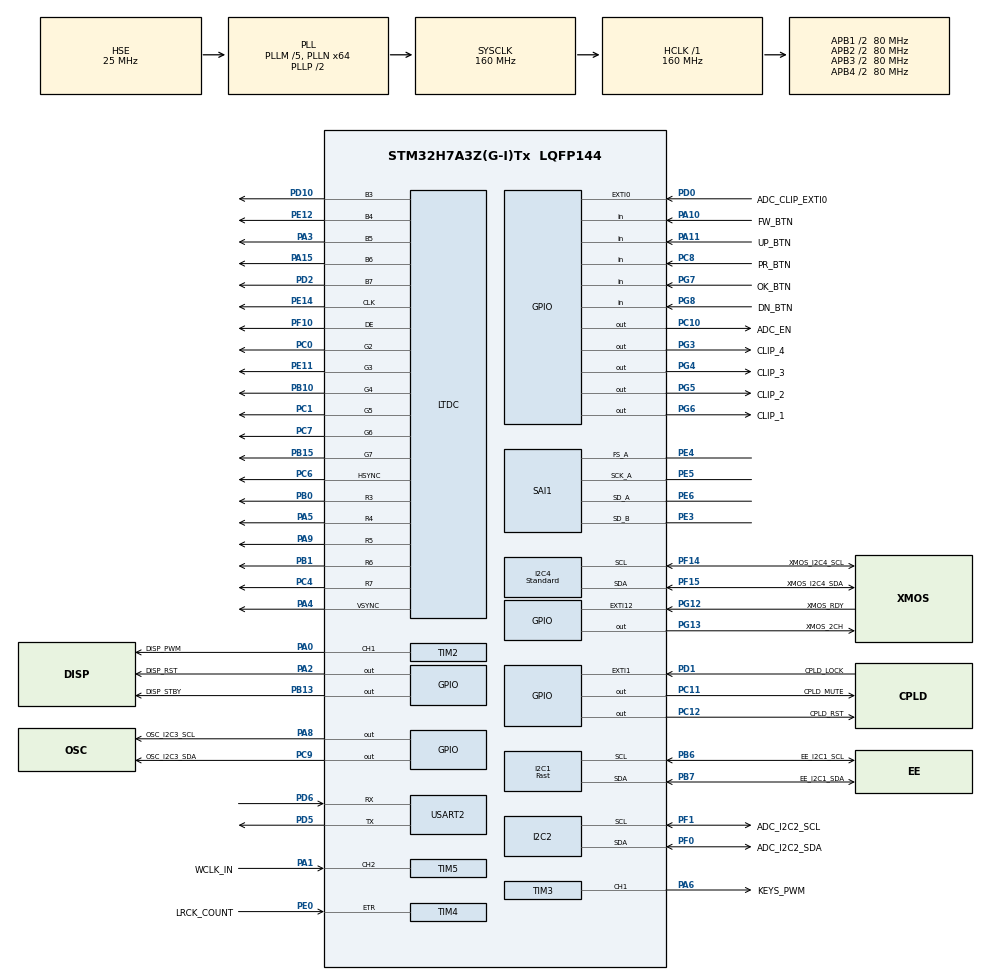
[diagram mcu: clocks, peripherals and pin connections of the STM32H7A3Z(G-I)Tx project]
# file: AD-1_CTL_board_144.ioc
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CORTEX_M7.AccessPermission_S-Cortex_Memory_Protection_Unit_Region1_Settings_S=MPU_REGION_FULL_ACCESS
CORTEX_M7.AccessPermission_Spec=MPU_REGION_FULL_ACCESS
CORTEX_M7.BaseAddress_S-Cortex_Memory_Protection_Unit_Region1_Settings_S=0x30000000
CORTEX_M7.BaseAddress_Spec=0x24000000
CORTEX_M7.CPU_DCache=Enabled
CORTEX_M7.CPU_ICache=Enabled
CORTEX_M7.Enable_S-Cortex_Memory_Protection_Unit_Region1_Settings_S=MPU_REGION_ENABLE
CORTEX_M7.IsCacheable_Spec=MPU_ACCESS_CACHEABLE
CORTEX_M7.IsShareable_Spec=MPU_ACCESS_NOT_SHAREABLE
CORTEX_M7.Size_S-Cortex_Memory_Protection_Unit_Region1_Settings_S=MPU_REGION_SIZE_32KB
CORTEX_M7.Size_Spec=MPU_REGION_SIZE_1MB
CORTEX_M7.SubRegionDisable_Spec=0x00
CORTEX_M7.TypeExtField_S-Cortex_Memory_Protection_Unit_Region1_Settings_S=MPU_TEX_LEVEL1
CORTEX_M7.default_mode_Activation=1
DMA2D.ColorMode=DMA2D_OUTPUT_RGB565
Dma.Request0=SAI1_A
Dma.Request1=SAI1_B
Dma.SAI1_A.0.Direction=DMA_PERIPH_TO_MEMORY
Dma.SAI1_A.0.EventEnable=DISABLE
Dma.SAI1_A.0.FIFOMode=DMA_FIFOMODE_DISABLE
Dma.SAI1_A.0.Instance=DMA1_Stream0
Dma.SAI1_A.0.MemDataAlignment=DMA_MDATAALIGN_WORD
Dma.SAI1_A.0.MemInc=DMA_MINC_ENABLE
Dma.SAI1_A.0.Mode=DMA_CIRCULAR
Dma.SAI1_A.0.PeriphDataAlignment=DMA_PDATAALIGN_WORD
Dma.SAI1_A.0.PeriphInc=DMA_PINC_DISABLE
Dma.SAI1_A.0.Polarity=HAL_DMAMUX_REQ_GEN_RISING
Dma.SAI1_A.0.Priority=DMA_PRIORITY_HIGH
Dma.SAI1_A.0.RequestNumber=1
Dma.SAI1_A.0.SignalID=NONE
Dma.SAI1_A.0.SyncEnable=DISABLE
Dma.SAI1_A.0.SyncPolarity=HAL_DMAMUX_SYNC_NO_EVENT
Dma.SAI1_A.0.SyncRequestNumber=1
Dma.SAI1_A.0.SyncSignalID=NONE
Dma.SAI1_B.1.Direction=DMA_PERIPH_TO_MEMORY
Dma.SAI1_B.1.EventEnable=DISABLE
Dma.SAI1_B.1.FIFOMode=DMA_FIFOMODE_DISABLE
Dma.SAI1_B.1.Instance=DMA1_Stream1
Dma.SAI1_B.1.MemDataAlignment=DMA_MDATAALIGN_WORD
Dma.SAI1_B.1.MemInc=DMA_MINC_ENABLE
Dma.SAI1_B.1.Mode=DMA_CIRCULAR
Dma.SAI1_B.1.PeriphDataAlignment=DMA_PDATAALIGN_WORD
Dma.SAI1_B.1.PeriphInc=DMA_PINC_DISABLE
Dma.SAI1_B.1.Polarity=HAL_DMAMUX_REQ_GEN_RISING
Dma.SAI1_B.1.Priority=DMA_PRIORITY_HIGH
Dma.SAI1_B.1.RequestNumber=1
Dma.SAI1_B.1.SignalID=NONE
Dma.SAI1_B.1.SyncEnable=DISABLE
Dma.SAI1_B.1.SyncPolarity=HAL_DMAMUX_SYNC_NO_EVENT
Dma.SAI1_B.1.SyncRequestNumber=1
Dma.SAI1_B.1.SyncSignalID=NONE
I2C1.I2C_Speed_Mode=I2C_Fast
I2C1.Timing=0x00702991
I2C2.Timing=0x10909CEC
I2C4.I2C_Speed_Mode=I2C_Standard
I2C4.OwnAddress=0x42
I2C4.Timing=0x10909CEC
LTDC.ActiveH=272
LTDC.ActiveW=480
LTDC.Alpha_L0=255
LTDC.DEPolarity=LTDC_DEPOLARITY_AH
LTDC.HBP=43
LTDC.HFP=8
LTDC.HSync=2
LTDC.ImageHeight_L0=128
LTDC.ImageWidth_L0=480
LTDC.Layers=0
LTDC.PCPolarity=LTDC_PCPOLARITY_IPC
LTDC.PixelFormat_L0=LTDC_PIXEL_FORMAT_RGB565
LTDC.VBP=12
LTDC.VFP=8
LTDC.VSync=4
LTDC.WindowX1_L0=480
LTDC.WindowY1_L0=128
Mcu.Family=STM32H7
Mcu.Name=STM32H7A3Z(G-I)Tx
Mcu.Package=LQFP144
NVIC.DMA1_Stream0_IRQn=true\:0\:0\:false\:false\:true\:false\:true\:true
NVIC.DMA1_Stream1_IRQn=true\:0\:0\:false\:false\:true\:false\:true\:true
NVIC.EXTI0_IRQn=true\:0\:0\:false\:false\:true\:true\:true\:true
NVIC.EXTI15_10_IRQn=true\:0\:0\:false\:false\:true\:true\:true\:true
NVIC.EXTI1_IRQn=true\:0\:0\:false\:false\:true\:true\:true\:true
NVIC.I2C4_ER_IRQn=true\:0\:0\:false\:false\:true\:true\:true\:true
NVIC.I2C4_EV_IRQn=true\:0\:0\:false\:false\:true\:true\:true\:true
NVIC.LTDC_IRQn=true\:0\:0\:false\:false\:true\:true\:true\:true
NVIC.PriorityGroup=NVIC_PRIORITYGROUP_4
NVIC.SAI1_IRQn=true\:0\:0\:false\:false\:true\:true\:true\:true
NVIC.TIM5_IRQn=true\:0\:0\:false\:false\:true\:true\:true\:true
PA0.GPIO_Label=DISP_PWM
PA0.Signal=S_TIM2_CH1_ETR
PA1.GPIO_Label=WCLK_IN
PA1.Signal=S_TIM5_CH2
PA10.GPIO_Label=FW_BTN
PA10.Signal=GPIO_Input
PA11.GPIO_Label=UP_BTN
PA11.Signal=GPIO_Input
PA13.Mode=Serial_Wire
PA13.Signal=DEBUG_JTMS-SWDIO
PA14.Mode=Serial_Wire
PA14.Signal=DEBUG_JTCK-SWCLK
PA15.Mode=RGB565
PA15.Signal=LTDC_B6
PA2.GPIO_Label=DISP_RST
PA2.Signal=GPIO_Output
PA3.Mode=RGB565
PA3.Signal=LTDC_B5
PA4.Mode=RGB565
PA4.Signal=LTDC_VSYNC
PA5.Mode=RGB565
PA5.Signal=LTDC_R4
PA6.GPIO_Label=KEYS_PWM
PA6.Signal=S_TIM3_CH1
PA8.GPIO_Label=OSC_I2C3_SCL
PA8.GPIO_ModeDefaultOutputPP=GPIO_MODE_OUTPUT_OD
PA8.GPIO_PuPd=GPIO_NOPULL
PA8.GPIO_Speed=GPIO_SPEED_FREQ_MEDIUM
PA8.PinState=GPIO_PIN_SET
PA8.Signal=GPIO_Output
PA9.Mode=RGB565
PA9.Signal=LTDC_R5
PB0.Mode=RGB565
PB0.Signal=LTDC_R3
PB1.Mode=RGB565
PB1.Signal=LTDC_R6
PB10.Mode=RGB565
PB10.Signal=LTDC_G4
PB13.GPIO_Label=DISP_STBY
PB13.Signal=GPIO_Output
PB15.Mode=RGB565
PB15.Signal=LTDC_G7
PB6.GPIO_Label=EE_I2C1_SCL
PB6.Mode=I2C
PB6.Signal=I2C1_SCL
PB7.GPIO_Label=EE_I2C1_SDA
PB7.Mode=I2C
PB7.Signal=I2C1_SDA
PC0.Mode=RGB565
PC0.Signal=LTDC_G2
PC1.Mode=RGB565
PC1.Signal=LTDC_G5
PC10.GPIO_Label=ADC_EN
PC10.Signal=GPIO_Output
PC11.GPIO_Label=CPLD_MUTE
PC11.Signal=GPIO_Output
PC12.GPIO_Label=CPLD_RST
PC12.Signal=GPIO_Output
PC4.Mode=RGB565
PC4.Signal=LTDC_R7
PC6.Mode=RGB565
PC6.Signal=LTDC_HSYNC
PC7.Mode=RGB565
PC7.Signal=LTDC_G6
PC8.GPIO_Label=PR_BTN
PC8.Signal=GPIO_Input
PC9.GPIO_Label=OSC_I2C3_SDA
PC9.GPIO_ModeDefaultOutputPP=GPIO_MODE_OUTPUT_OD
PC9.GPIO_PuPd=GPIO_NOPULL
PC9.GPIO_Speed=GPIO_SPEED_FREQ_MEDIUM
PC9.PinState=GPIO_PIN_SET
PC9.Signal=GPIO_Output
PD0.GPIO_Label=ADC_CLIP_EXTI0
PD0.GPIO_ModeDefaultEXTI=GPIO_MODE_IT_RISING
PD0.Signal=GPXTI0
PD1.GPIO_Label=CPLD_LOCK
PD1.GPIO_ModeDefaultEXTI=GPIO_MODE_IT_RISING_FALLING
PD1.Signal=GPXTI1
PD10.Mode=RGB565
PD10.Signal=LTDC_B3
PD2.Mode=RGB565
PD2.Signal=LTDC_B7
PD5.Mode=Asynchronous
PD5.Signal=USART2_TX
PD6.Mode=Asynchronous
PD6.Signal=USART2_RX
PE0.GPIO_Label=LRCK_COUNT
PE0.Signal=S_TIM4_ETR
PE11.Mode=RGB565
PE11.Signal=LTDC_G3
PE12.Mode=RGB565
PE12.Signal=LTDC_B4
PE14.Mode=RGB565
PE14.Signal=LTDC_CLK
PE3.Mode=SAI_B_SyncSlave
PE3.Signal=SAI1_SD_B
PE4.Mode=SAI_A_AsyncSlave
PE4.Signal=SAI1_FS_A
PE5.Mode=SAI_A_AsyncSlave
PE5.Signal=SAI1_SCK_A
PE6.Mode=SAI_A_AsyncSlave
PE6.Signal=SAI1_SD_A
PF0.GPIO_Label=ADC_I2C2_SDA
PF0.Mode=I2C
PF0.Signal=I2C2_SDA
PF1.GPIO_Label=ADC_I2C2_SCL
PF1.Mode=I2C
PF1.Signal=I2C2_SCL
PF10.Mode=RGB565
PF10.Signal=LTDC_DE
PF14.GPIO_Label=XMOS_I2C4_SCL
PF14.Mode=I2C
PF14.Signal=I2C4_SCL
PF15.GPIO_Label=XMOS_I2C4_SDA
PF15.Mode=I2C
PF15.Signal=I2C4_SDA
PG12.GPIO_Label=XMOS_RDY
PG12.Signal=GPXTI12
PG13.GPIO_Label=XMOS_2CH
PG13.Signal=GPIO_Output
PG3.GPIO_Label=CLIP_4
PG3.Signal=GPIO_Output
PG4.GPIO_Label=CLIP_3
PG4.Signal=GPIO_Output
PG5.GPIO_Label=CLIP_2
PG5.Signal=GPIO_Output
PG6.GPIO_Label=CLIP_1
PG6.Signal=GPIO_Output
PG7.GPIO_Label=OK_BTN
PG7.Signal=GPIO_Input
PG8.GPIO_Label=DN_BTN
PG8.Signal=GPIO_Input
PH0-OSC_IN.Mode=HSE-External-Clock-Source
PH0-OSC_IN.Signal=RCC_OSC_IN
ProjectManager.HeapSize=0x200
ProjectManager.StackSize=0x400
ProjectManager.TargetToolchain=STM32CubeIDE
RCC.ADCFreq_Value=50390625
RCC.APB1Freq_Value=80000000
RCC.APB2Freq_Value=80000000
RCC.APB3Freq_Value=80000000
RCC.APB4Freq_Value=80000000
RCC.CDPPRE=RCC_APB3_DIV2
RCC.CDPPRE1=RCC_APB1_DIV2
RCC.CDPPRE2=RCC_APB2_DIV2
RCC.CortexFreq_Value=160000000
RCC.DIVM1=5
RCC.DIVM3=5
RCC.DIVN1=64
RCC.DIVN3=54
RCC.DIVQ1=4
RCC.DIVR3=30
RCC.HCLKFreq_Value=160000000
RCC.HSE_VALUE=25000000
RCC.PLL2FRACN=0
RCC.PLL3FRACN=0
RCC.PLLFRACN=0
RCC.PLLSourceVirtual=RCC_PLLSOURCE_HSE
RCC.SRDPPRE=RCC_APB4_DIV2
RCC.SYSCLKFreq_VALUE=160000000
RCC.SYSCLKSource=RCC_SYSCLKSOURCE_PLLCLK
RCC.USBFreq_Value=80000000
SAI1.BasicDataSize-SAI_A_AsyncSlave=SAI_PROTOCOL_DATASIZE_24BIT
SAI1.BasicDataSize-SAI_B_SyncSlave=SAI_PROTOCOL_DATASIZE_24BIT
SAI1.InitProtocol-SAI_A_AsyncSlave=Enable
SAI1.InitProtocol-SAI_B_SyncSlave=Enable
SAI1.Instance-SAI_A_AsyncSlave=SAI$Index_Block_A
SAI1.Instance-SAI_B_SyncSlave=SAI$Index_Block_B
SAI1.VirtualMode-SAI_A_AsyncSlave=VM_SLAVE
SAI1.VirtualMode-SAI_B_SyncSlave=VM_SLAVE
SAI1.VirtualProtocol-SAI_A_BASIC=VM_BASIC_PROTOCOL
SAI1.VirtualProtocol-SAI_B_BASIC=VM_BASIC_PROTOCOL
SH.S_TIM2_CH1_ETR.0=TIM2_CH1,PWM Generation1 CH1
SH.S_TIM3_CH1.0=TIM3_CH1,PWM Generation1 CH1
SH.S_TIM4_ETR.0=TIM4_ETR,ClockSourceETR_Mode2
SH.S_TIM5_CH2.0=TIM5_CH2,Input_Capture2_from_TI2
STMicroelectronics.X-CUBE-TOUCHGFX.4.26.1.ApplicationCcGraphicsJjApplication=TouchGFXOoGenerator
STMicroelectronics.X-CUBE-TOUCHGFX.4.26.1.tgfx_buffering_strategy=Double
STMicroelectronics.X-CUBE-TOUCHGFX.4.26.1.tgfx_display_interface=disp_ltdc
STMicroelectronics.X-CUBE-TOUCHGFX.4.26.1.tgfx_hardware_accelerator=dma_2d
STMicroelectronics.X-CUBE-TOUCHGFX.4.26.1.tgfx_vsync=vsync_ltdc
STMicroelectronics.X-CUBE-TOUCHGFX.4.26.1_IsPackSelfContextualization=true
TIM2.Channel-PWM\ Generation1\ CH1=TIM_CHANNEL_1
TIM2.Period=7999
TIM3.Channel-PWM\ Generation1\ CH1=TIM_CHANNEL_1
TIM3.Period=7999
TIM4.Period=0xffff
TIM4.Prescaler=0
TIM4.TIM_MasterOutputTrigger=TIM_TRGO_UPDATE
TIM5.Channel-Input_Capture1_from_TRC=TIM_CHANNEL_1
TIM5.Channel-Input_Capture2_from_TI2=TIM_CHANNEL_2
TIM5.Period=0xFFFFFFFF
USART2.VirtualMode-Asynchronous=VM_ASYNC
VP_CRC_VS_CRC.Mode=CRC_Activate
VP_DMA2D_VS_DMA2D.Mode=DMA2D_Activate
VP_MEMORYMAP_VS_MEMORYMAP.Mode=CurAppReg
VP_SAI1_VP_$IpInstance_SAIA_SAI_BASIC.Mode=SAI_A_BASIC
VP_SAI1_VP_$IpInstance_SAIB_SAI_BASIC.Mode=SAI_B_BASIC
VP_STMicroelectronics.X-CUBE-TOUCHGFX_VS_GraphicsJjApplication_4.26.1.Mode=GraphicsJjApplication
VP_TIM5_VS_CH1.Mode=Input_Capture1_from_TRC
VP_TIM5_VS_ClockSourceINT.Mode=Internal
VP_TIM5_VS_ClockSourceITR.Mode=TriggerSource_ITR3
board=custom

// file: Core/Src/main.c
/* USER CODE BEGIN Header */
/**
  ******************************************************************************
  * @file           : main.c
  * @brief          : Main program body
  ******************************************************************************
  * @attention
  *
  * Copyright (c) 2026 STMicroelectronics.
  * All rights reserved.
  *
  * This software is licensed under terms that can be found in the LICENSE file
  * in the root directory of this software component.
  * If no LICENSE file comes with this software, it is provided AS-IS.
  *
  ******************************************************************************
  */
/* USER CODE END Header */
#include "main.h"
#include "crc.h"
#include "dma.h"
#include "dma2d.h"
#include "i2c.h"
#include "ltdc.h"
#include "sai.h"
#include "tim.h"
#include "usart.h"
#include "gpio.h"
#include "app_touchgfx.h"

/* USER CODE BEGIN Includes */
#include <stdio.h>
#include "debug_uart.h"
#include "cpld_ctrl.h"
#include "xmos_link.h"
#include "osc_ctrl.h"
#include "sai_metering.h"
#include "settings_store.h"
#include "backlight.h"
#include "adc_es9843.h"
#include "eeprom_24aa02.h"
#include "rate_ctrl.h"

extern LTDC_HandleTypeDef hltdc;

/* USER CODE END Includes */

/* USER CODE BEGIN PV */
#define FW_VERSION		"0.2b-step1.2"
volatile bool g_adcOk	= false;
volatile bool g_cpldOk	= false;

/* USER CODE END PV */

void SystemClock_Config(void);
static void MPU_Config(void);

/* USER CODE BEGIN 0 */

void LCD_Init(void)
{
  /* --- panel reset (GRB, active low, on DISP_RST/PA2) --- */
  HAL_GPIO_WritePin(DISP_RST_GPIO_Port, DISP_RST_Pin, GPIO_PIN_RESET);
  HAL_Delay(10);
  HAL_GPIO_WritePin(DISP_RST_GPIO_Port, DISP_RST_Pin, GPIO_PIN_SET);
  HAL_Delay(20);

  /* --- framebuffer + layer; LTDC is already running after init --- */
  //LCD_FillTestPattern();
  //LCD_ConfigLayer();

  /* let a few complete frames stream out before leaving standby      */
  HAL_Delay(50);

  /* --- DISP high = normal operation (DISP_STBY/PA1) --- */
  HAL_GPIO_WritePin(DISP_STBY_GPIO_Port, DISP_STBY_Pin, GPIO_PIN_SET);
  HAL_Delay(50);

}

/* USER CODE END 0 */

int main(void)
{

  /* MPU Configuration--------------------------------------------------------*/
  MPU_Config();

  /* Enable the CPU Cache */

  /* Enable I-Cache---------------------------------------------------------*/
  SCB_EnableICache();

  /* Enable D-Cache---------------------------------------------------------*/
  SCB_EnableDCache();

  /* MCU Configuration--------------------------------------------------------*/

  /* Reset of all peripherals, Initializes the Flash interface and the Systick. */
  HAL_Init();

  /* Configure the system clock */
  SystemClock_Config();

  /* Initialize all configured peripherals */
  MX_GPIO_Init();
  MX_DMA_Init();
  MX_DMA2D_Init();
  MX_I2C1_Init();
  MX_I2C2_Init();
  MX_LTDC_Init();
  MX_SAI1_Init();
  MX_TIM3_Init();
  MX_I2C4_Init();
  MX_CRC_Init();
  MX_TIM2_Init();
  MX_TIM4_Init();
  MX_TIM5_Init();
  MX_USART2_UART_Init();
  MX_TouchGFX_Init();
  /* USER CODE BEGIN 2 */

  /* --- console first: everything below logs --- */
  DebugUart_Init();
  DBG_Printf("\r\n=== AD-1 Hamstermatic Interface Processor v2.0  FW %s ===\r\n", FW_VERSION);
  DBG_Printf("HSE bypass %s, SYSCLK %lu Hz\r\n",
          (RCC->CR & RCC_CR_HSERDY) ? "locked" : "NOT READY",
          (unsigned long)HAL_RCC_GetSysClockFreq());

  /* safe state until the boot sequencer releases them               */
  CPLD_Reset(true);
  CPLD_Mute(true);
  ES9843_SetEnabled(false);

  /* --- settings (EEPROM on I2C1) --- */
  {
	  bool valid = Settings_Load();
	  uint8_t id[8] = {0};
	  bool eeOk = (EEPROM_ReadEUI64(id) == HAL_OK);
	  DBG_Printf("EEPROM %s, settings %s, EUI-64 %02X%02X%02X%02X%02X%02X%02X%02X\r\n",
                eeOk ? "ok" : "ABSENT", valid ? "loaded" : "DEFAULTS",
                id[0],id[1],id[2],id[3],id[4],id[5],id[6],id[7]);
  }

  /* --- backlights restored before the panel lights --- */
  Backlight_Start();
  Backlight_SetKey(g_settings.keyBright);
  Backlight_SetDisplay(g_settings.dispBright);
  LCD_Init();

  /* --- provisioning probes (steps 2/4), log only --- */
  Osc_Init();												/* bit-bang bus up + recovery, fast     */

  RateCtl_Init();											/* live rate = stored setting (no HW)   */
  Xmos_LinkInit();											/* I2C4 slave 0x42 starts listening now,
                                   	   	   	   	   	   	   	   so a packet sent during the splash is
                                   	   	   	   	   	   	   	   kept and applied when boot finishes  */

  /* -> TouchGFX starts the splash screen, which runs boot_seq.c:
   *    ADC init/apply (muted) -> OSC probes -> CPLD release ->
   *    SAI start -> CPLD lock -> I2S alive -> unmute -> main screen */
  /* USER CODE END 2 */

  /* Infinite loop */
  while (1)
  {

  MX_TouchGFX_Process();
  }
}

void SystemClock_Config(void)
{
  RCC_OscInitTypeDef RCC_OscInitStruct = {0};
  RCC_ClkInitTypeDef RCC_ClkInitStruct = {0};

  /*AXI clock gating */
  RCC->CKGAENR = 0xE003FFFF;

  /** Supply configuration update enable
  */
  HAL_PWREx_ConfigSupply(PWR_LDO_SUPPLY);

  /** Configure the main internal regulator output voltage
  */
  __HAL_PWR_VOLTAGESCALING_CONFIG(PWR_REGULATOR_VOLTAGE_SCALE2);

  while(!__HAL_PWR_GET_FLAG(PWR_FLAG_VOSRDY)) {}

  /** Initializes the RCC Oscillators according to the specified parameters
  * in the RCC_OscInitTypeDef structure.
  */
  RCC_OscInitStruct.OscillatorType = RCC_OSCILLATORTYPE_HSE;
  RCC_OscInitStruct.HSEState = RCC_HSE_BYPASS;
  RCC_OscInitStruct.PLL.PLLState = RCC_PLL_ON;
  RCC_OscInitStruct.PLL.PLLSource = RCC_PLLSOURCE_HSE;
  RCC_OscInitStruct.PLL.PLLM = 5;
  RCC_OscInitStruct.PLL.PLLN = 64;
  RCC_OscInitStruct.PLL.PLLP = 2;
  RCC_OscInitStruct.PLL.PLLQ = 4;
  RCC_OscInitStruct.PLL.PLLR = 2;
  RCC_OscInitStruct.PLL.PLLRGE = RCC_PLL1VCIRANGE_2;
  RCC_OscInitStruct.PLL.PLLVCOSEL = RCC_PLL1VCOWIDE;
  RCC_OscInitStruct.PLL.PLLFRACN = 0;
  if (HAL_RCC_OscConfig(&RCC_OscInitStruct) != HAL_OK)
  {
    Error_Handler();
  }

  /** Initializes the CPU, AHB and APB buses clocks
  */
  RCC_ClkInitStruct.ClockType = RCC_CLOCKTYPE_HCLK|RCC_CLOCKTYPE_SYSCLK
                              |RCC_CLOCKTYPE_PCLK1|RCC_CLOCKTYPE_PCLK2
                              |RCC_CLOCKTYPE_D3PCLK1|RCC_CLOCKTYPE_D1PCLK1;
  RCC_ClkInitStruct.SYSCLKSource = RCC_SYSCLKSOURCE_PLLCLK;
  RCC_ClkInitStruct.SYSCLKDivider = RCC_SYSCLK_DIV1;
  RCC_ClkInitStruct.AHBCLKDivider = RCC_HCLK_DIV1;
  RCC_ClkInitStruct.APB3CLKDivider = RCC_APB3_DIV2;
  RCC_ClkInitStruct.APB1CLKDivider = RCC_APB1_DIV2;
  RCC_ClkInitStruct.APB2CLKDivider = RCC_APB2_DIV2;
  RCC_ClkInitStruct.APB4CLKDivider = RCC_APB4_DIV2;

  if (HAL_RCC_ClockConfig(&RCC_ClkInitStruct, FLASH_LATENCY_4) != HAL_OK)
  {
    Error_Handler();
  }
}

 /* MPU Configuration */

void MPU_Config(void)
{
  MPU_Region_InitTypeDef MPU_InitStruct = {0};

  /* Disables the MPU */
  HAL_MPU_Disable();

  /** Initializes and configures the Region and the memory to be protected
  */
  MPU_InitStruct.Enable = MPU_REGION_ENABLE;
  MPU_InitStruct.Number = MPU_REGION_NUMBER0;
  MPU_InitStruct.BaseAddress = 0x24000000;
  MPU_InitStruct.Size = MPU_REGION_SIZE_1MB;
  MPU_InitStruct.SubRegionDisable = 0x00;
  MPU_InitStruct.TypeExtField = MPU_TEX_LEVEL0;
  MPU_InitStruct.AccessPermission = MPU_REGION_FULL_ACCESS;
  MPU_InitStruct.DisableExec = MPU_INSTRUCTION_ACCESS_DISABLE;
  MPU_InitStruct.IsShareable = MPU_ACCESS_NOT_SHAREABLE;
  MPU_InitStruct.IsCacheable = MPU_ACCESS_CACHEABLE;
  MPU_InitStruct.IsBufferable = MPU_ACCESS_NOT_BUFFERABLE;

  HAL_MPU_ConfigRegion(&MPU_InitStruct);

  /** Initializes and configures the Region and the memory to be protected
  */
  MPU_InitStruct.Number = MPU_REGION_NUMBER1;
  MPU_InitStruct.BaseAddress = 0x30000000;
  MPU_InitStruct.Size = MPU_REGION_SIZE_32KB;
  MPU_InitStruct.SubRegionDisable = 0x0;
  MPU_InitStruct.TypeExtField = MPU_TEX_LEVEL1;
  MPU_InitStruct.DisableExec = MPU_INSTRUCTION_ACCESS_ENABLE;
  MPU_InitStruct.IsCacheable = MPU_ACCESS_NOT_CACHEABLE;

  HAL_MPU_ConfigRegion(&MPU_InitStruct);
  /* Enables the MPU */
  HAL_MPU_Enable(MPU_PRIVILEGED_DEFAULT);

}

void Error_Handler(void)
{
  __disable_irq();
  while (1)
  {
  }
}
